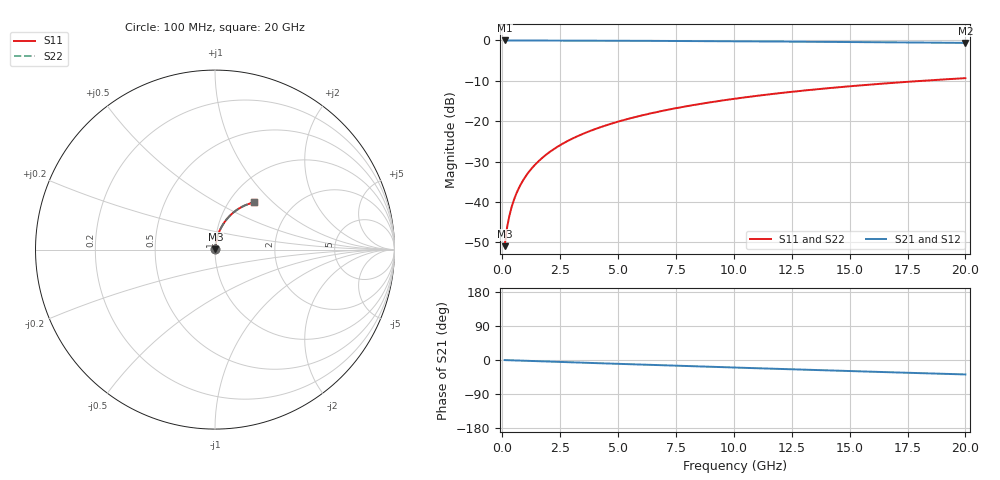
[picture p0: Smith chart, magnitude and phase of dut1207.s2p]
! Touchstone file exported from HFSS 2026.1.0
!  File:  C:/ffzhzh/LocalFiles/Ansys_Project_Files/temp_train_BSMRDL_1207_1783176569_43440.aedt
!  Generated:  10:50:47 PM Jul  4, 2026
!  Design:  BSMRDL
!  Project:  temp_train_BSMRDL_1207_1783176569_43440
! Variables:
!  h_bsmrdl = 5.14um
!  h_ox = 20um
!  h_rdl = 5um
!  h_sub = 80um
!  h_tmrdl = 5um
!  h_tsv = 80um
!  h_via = 3um
!  l_bsmrdl = 556.23um
!  l_sub = 956.23um
!  l_tmrdl = 200um
!  m_sub = 200um
!  pitch = 52.21um
!  r_tsv = 6um
!  s_tmrdl = 10um
!  w_bsmrdl = 23.81um
!  w_sub = 500um
!  w_tmrdl = 12um
!  x_tsv_center1 = 206um
!  x_tsv_center2 = 786.04um
!  x_tsv_center3 = 998.04um
!  x_tsv_center4 = 1578.08um
!  x_tsv_center5 = 1790.08um
!  x_tsv_center6 = 2370.12um
# GHz S MA R 50.000000
! Terminal data exported
! Port[1] = BSM_RDL1_1_T1
! Port[2] = BSM_RDL1_1_T2
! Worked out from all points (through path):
!   200 points, 100 MHz to 20 GHz, reference 50 ohm
!   highest |S21| = -0.02 dB at 100 MHz (marker M1); lowest = -0.6 dB at 20 GHz (marker M2)
!   group delay of S21, straight-line fit = 5.29 ps
!   lowest |S11| = -50.9 dB at 100 MHz (marker M3), VSWR 1.01, Z = 50.2 + j0.221 ohm
!   |S11| at or under -10 dB: start of sweep to 18.15 GHz
!   |S22| runs from -50.9 to -9.3 dB; largest |S21 - S12| = 2.6e-15
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0.1  0.00284 50.8  0.9982 -0.2  0.9982 -0.2  0.00284 50.8
! Gamma 0 0 0 0
! Port Impedance 50 0 50 0
0.2  0.004707 65.6  0.9981 -0.4  0.9981 -0.4  0.004707 65.6
0.3  0.006642 71.8  0.998 -0.6  0.998 -0.6  0.006642 71.8
0.4  0.008601 75.2  0.9979 -0.8  0.9979 -0.8  0.008601 75.2
0.5  0.01058 77.4  0.9978 -1.0  0.9978 -1.0  0.01058 77.4
0.7  0.01457 79.9  0.9977 -1.4  0.9977 -1.4  0.01457 79.9
0.8  0.01658 80.6  0.9976 -1.7  0.9976 -1.7  0.01658 80.6
1  0.0206 81.5  0.9975 -2.1  0.9975 -2.1  0.0206 81.5
1.2  0.02462 81.9  0.9973 -2.5  0.9973 -2.5  0.02462 81.9
1.4  0.02865 82.1  0.9971 -2.9  0.9971 -2.9  0.02865 82.1
1.7  0.03466 82.1  0.9967 -3.5  0.9967 -3.5  0.03466 82.1
2  0.04065 81.9  0.9963 -4.1  0.9963 -4.1  0.04065 81.9
2.7  0.0545 81.0  0.9952 -5.5  0.9952 -5.5  0.0545 81.0
3.5  0.07009 79.7  0.9937 -7.1  0.9937 -7.1  0.0701 79.7
4.2  0.08355 78.5  0.9922 -8.5  0.9922 -8.5  0.08355 78.5
5  0.09873 77.1  0.9903 -10.1  0.9903 -10.1  0.09873 77.1
6.8  0.1321 73.9  0.9855 -13.6  0.9855 -13.6  0.1322 73.9
8.3  0.1592 71.2  0.9809 -16.6  0.9809 -16.6  0.1592 71.2
10.1  0.1908 67.9  0.9747 -20.0  0.9747 -20.0  0.1908 67.9
13.4  0.2455 62.0  0.9616 -26.2  0.9616 -26.2  0.2455 62.0
16.7  0.2957 56.1  0.9468 -32.3  0.9468 -32.3  0.2957 56.1
20  0.3411 50.4  0.9311 -38.1  0.9311 -38.1  0.3411 50.4
